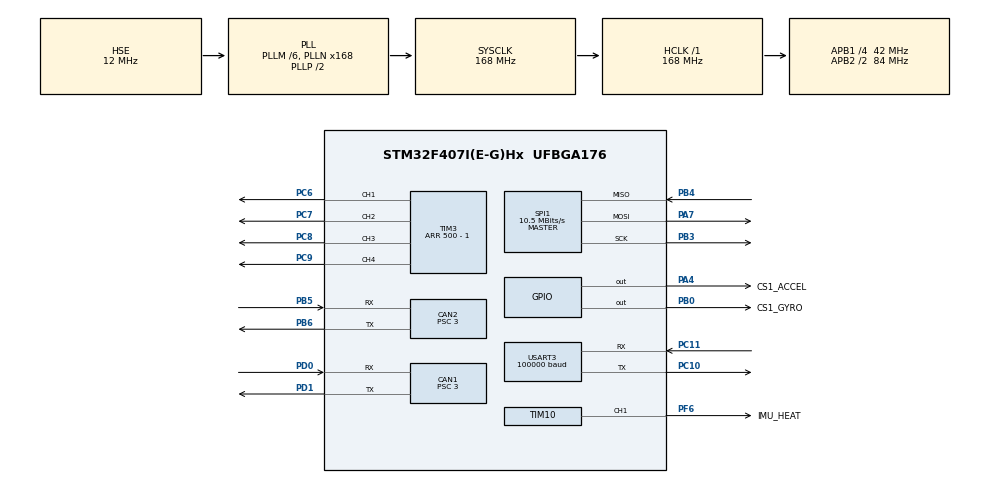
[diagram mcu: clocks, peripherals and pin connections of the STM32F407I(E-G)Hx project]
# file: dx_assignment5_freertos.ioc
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CAN1.ABOM=ENABLE
CAN1.AWUM=ENABLE
CAN1.BS1=CAN_BS1_7TQ
CAN1.BS2=CAN_BS2_6TQ
CAN1.CalculateBaudRate=1000000
CAN1.CalculateTimeBit=1000
CAN1.CalculateTimeQuantum=71.42857142857143
CAN1.Mode=CAN_MODE_NORMAL
CAN1.NART=ENABLE
CAN1.Prescaler=3
CAN1.TXFP=ENABLE
CAN2.BS1=CAN_BS1_7TQ
CAN2.BS2=CAN_BS2_6TQ
CAN2.CalculateBaudRate=1000000
CAN2.CalculateTimeBit=1000
CAN2.CalculateTimeQuantum=71.42857142857143
CAN2.Prescaler=3
Dma.Request0=USART3_RX
Dma.USART3_RX.0.Direction=DMA_PERIPH_TO_MEMORY
Dma.USART3_RX.0.FIFOMode=DMA_FIFOMODE_DISABLE
Dma.USART3_RX.0.Instance=DMA1_Stream1
Dma.USART3_RX.0.MemDataAlignment=DMA_MDATAALIGN_BYTE
Dma.USART3_RX.0.MemInc=DMA_MINC_ENABLE
Dma.USART3_RX.0.Mode=DMA_CIRCULAR
Dma.USART3_RX.0.PeriphDataAlignment=DMA_PDATAALIGN_BYTE
Dma.USART3_RX.0.PeriphInc=DMA_PINC_DISABLE
Dma.USART3_RX.0.Priority=DMA_PRIORITY_LOW
FREERTOS.CountingSemaphores01=CAN1CountingSem,3,Dynamic,NULL;CAN2CountingSem,3,Dynamic,NULL
FREERTOS.Queues01=can1_send_fifo,16,can_device_transmit_member,0,Dynamic,NULL,NULL;can2_send_fifo,16,can_device_transmit_member,0,Dynamic,NULL,NULL
FREERTOS.Tasks01=CAN1_Sending_Service,40,256,can1_sending_service,As weak,NULL,Dynamic,NULL,NULL;CAN2_Sending_Service,40,256,can2_sending_service,As weak,NULL,Dynamic,NULL,NULL;DJI_Motor_Service,40,256,DJI_motor_service,As weak,NULL,Dynamic,NULL,NULL;aterFull_Light_Task,8,128,waterfull_light,As weak,NULL,Dynamic,NULL,NULL;Motor_Control_Task,8,128,motor_control,As weak,NULL,Dynamic,NULL,NULL;INS_Service,8,128,ins_service,As weak,NULL,Dynamic,NULL,NULL;Power_Meter,8,128,power_meter,As weak,NULL,Dynamic,NULL,NULL;Dbus_Servicce,8,128,dbus_servicce,As weak,NULL,Dynamic,NULL,NULL
FREERTOS.configMAX_TASK_NAME_LEN=32
FREERTOS.configMINIMAL_STACK_SIZE=128
FREERTOS.configTOTAL_HEAP_SIZE=50000
FREERTOS.configUSE_NEWLIB_REENTRANT=1
Mcu.Family=STM32F4
Mcu.Name=STM32F407I(E-G)Hx
Mcu.Package=UFBGA176
NVIC.CAN1_RX0_IRQn=true\:5\:0\:false\:false\:true\:true\:true\:true\:true
NVIC.CAN1_TX_IRQn=true\:5\:0\:false\:false\:true\:true\:true\:true\:true
NVIC.CAN2_RX1_IRQn=true\:5\:0\:false\:false\:true\:true\:true\:true\:true
NVIC.CAN2_TX_IRQn=true\:5\:0\:false\:false\:true\:true\:true\:true\:true
NVIC.DMA1_Stream1_IRQn=true\:5\:0\:false\:false\:true\:true\:false\:true\:true
NVIC.PriorityGroup=NVIC_PRIORITYGROUP_4
NVIC.TIM7_IRQn=true\:15\:0\:false\:false\:true\:false\:false\:true\:true
NVIC.TimeBase=TIM7_IRQn
NVIC.TimeBaseIP=TIM7
NVIC.USART3_IRQn=true\:5\:0\:false\:false\:true\:true\:true\:true\:true
PA13.Mode=Serial_Wire
PA13.Signal=SYS_JTMS-SWDIO
PA14.Mode=Serial_Wire
PA14.Signal=SYS_JTCK-SWCLK
PA4.GPIO_Label=CS1_ACCEL
PA4.GPIO_PuPd=GPIO_PULLUP
PA4.GPIO_Speed=GPIO_SPEED_FREQ_HIGH
PA4.PinState=GPIO_PIN_SET
PA4.Signal=GPIO_Output
PA7.Mode=Full_Duplex_Master
PA7.Signal=SPI1_MOSI
PB0.GPIO_Label=CS1_GYRO
PB0.GPIO_PuPd=GPIO_PULLUP
PB0.GPIO_Speed=GPIO_SPEED_FREQ_HIGH
PB0.PinState=GPIO_PIN_SET
PB0.Signal=GPIO_Output
PB3.Mode=Full_Duplex_Master
PB3.Signal=SPI1_SCK
PB4.Mode=Full_Duplex_Master
PB4.Signal=SPI1_MISO
PB5.Mode=CAN_Activate
PB5.Signal=CAN2_RX
PB6.Mode=CAN_Activate
PB6.Signal=CAN2_TX
PC10.Mode=Asynchronous
PC10.Signal=USART3_TX
PC11.Mode=Asynchronous
PC11.Signal=USART3_RX
PC6.Signal=S_TIM3_CH1
PC7.Signal=S_TIM3_CH2
PC8.Signal=S_TIM3_CH3
PC9.Signal=S_TIM3_CH4
PD0.Mode=CAN_Activate
PD0.Signal=CAN1_RX
PD1.Mode=CAN_Activate
PD1.Signal=CAN1_TX
PF6.GPIO_Label=IMU_HEAT
PF6.GPIO_PuPd=GPIO_PULLUP
PF6.GPIO_Speed=GPIO_SPEED_FREQ_HIGH
PF6.Signal=S_TIM10_CH1
PH0-OSC_IN.Mode=HSE-External-Oscillator
PH0-OSC_IN.Signal=RCC_OSC_IN
PH1-OSC_OUT.Mode=HSE-External-Oscillator
PH1-OSC_OUT.Signal=RCC_OSC_OUT
ProjectManager.HeapSize=0x200
ProjectManager.StackSize=0x400
ProjectManager.TargetToolchain=CMake
RCC.48MHZClocksFreq_Value=84000000
RCC.AHBFreq_Value=168000000
RCC.APB1CLKDivider=RCC_HCLK_DIV4
RCC.APB1Freq_Value=42000000
RCC.APB1TimFreq_Value=84000000
RCC.APB2CLKDivider=RCC_HCLK_DIV2
RCC.APB2Freq_Value=84000000
RCC.APB2TimFreq_Value=168000000
RCC.CortexFreq_Value=168000000
RCC.HCLKFreq_Value=168000000
RCC.HSE_VALUE=12000000
RCC.HSI_VALUE=16000000
RCC.LSE_VALUE=32768
RCC.PLLM=6
RCC.PLLN=168
RCC.PLLSourceVirtual=RCC_PLLSOURCE_HSE
RCC.SYSCLKFreq_VALUE=168000000
RCC.SYSCLKSource=RCC_SYSCLKSOURCE_PLLCLK
RCC.VCOOutputFreq_Value=336000000
SH.S_TIM10_CH1.0=TIM10_CH1,PWM Generation1 CH1
SH.S_TIM3_CH1.0=TIM3_CH1,PWM Generation1 CH1
SH.S_TIM3_CH2.0=TIM3_CH2,PWM Generation2 CH2
SH.S_TIM3_CH3.0=TIM3_CH3,PWM Generation3 CH3
SH.S_TIM3_CH4.0=TIM3_CH4,PWM Generation4 CH4
SPI1.BaudRatePrescaler=SPI_BAUDRATEPRESCALER_8
SPI1.CLKPhase=SPI_PHASE_2EDGE
SPI1.CLKPolarity=SPI_POLARITY_HIGH
SPI1.CalculateBaudRate=10.5 MBits/s
SPI1.Direction=SPI_DIRECTION_2LINES
SPI1.Mode=SPI_MODE_MASTER
SPI1.VirtualType=VM_MASTER
TIM10.Channel=TIM_CHANNEL_1
TIM10.Period=2000 - 1
TIM10.Prescaler=84 - 1
TIM3.Channel-PWM\ Generation1\ CH1=TIM_CHANNEL_1
TIM3.Channel-PWM\ Generation2\ CH2=TIM_CHANNEL_2
TIM3.Channel-PWM\ Generation3\ CH3=TIM_CHANNEL_3
TIM3.Channel-PWM\ Generation4\ CH4=TIM_CHANNEL_4
TIM3.Period=500 - 1
USART3.BaudRate=100000
USART3.Parity=PARITY_EVEN
USART3.VirtualMode=VM_ASYNC
USART3.WordLength=WORDLENGTH_9B
VP_FREERTOS_VS_CMSIS_V2.Mode=CMSIS_V2
VP_SYS_VS_tim7.Mode=TIM7
VP_TIM10_VS_ClockSourceINT.Mode=Enable_Timer
VP_TIM3_VS_ClockSourceINT.Mode=Internal
board=custom

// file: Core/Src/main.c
/* USER CODE BEGIN Header */
/**
  ******************************************************************************
  * @file           : main.c
  * @brief          : Main program body
  ******************************************************************************
  * @attention
  *
  * Copyright (c) 2026 STMicroelectronics.
  * All rights reserved.
  *
  * This software is licensed under terms that can be found in the LICENSE file
  * in the root directory of this software component.
  * If no LICENSE file comes with this software, it is provided AS-IS.
  *
  ******************************************************************************
  */
/* USER CODE END Header */
#include "main.h"
#include "cmsis_os.h"
#include "can.h"
#include "dma.h"
#include "spi.h"
#include "tim.h"
#include "usart.h"
#include "gpio.h"

/* USER CODE BEGIN Includes */
#include "bsp_dwt.h"
#include "BMI088driver.h"
/* USER CODE END Includes */

void SystemClock_Config(void);
void MX_FREERTOS_Init(void);

/* USER CODE BEGIN 0 */
void bsp_can_init() {
    HAL_CAN_Start(&hcan1);
    HAL_CAN_ActivateNotification(&hcan1,  CAN_IT_RX_FIFO0_MSG_PENDING | CAN_IT_TX_MAILBOX_EMPTY);
    HAL_CAN_Start(&hcan2);
    HAL_CAN_ActivateNotification(&hcan2,  CAN_IT_RX_FIFO1_MSG_PENDING | CAN_IT_TX_MAILBOX_EMPTY);
}
/* USER CODE END 0 */

int main(void)
{

  /* USER CODE BEGIN 1 */
  __HAL_RCC_SYSCLK_CONFIG(RCC_SYSCLKSOURCE_HSI);
  /* USER CODE END 1 */

  /* MCU Configuration--------------------------------------------------------*/

  /* Reset of all peripherals, Initializes the Flash interface and the Systick. */
  HAL_Init();

  /* Configure the system clock */
  SystemClock_Config();

  /* Initialize all configured peripherals */
  MX_GPIO_Init();
  MX_DMA_Init();
  MX_CAN1_Init();
  MX_CAN2_Init();
  MX_TIM3_Init();
  MX_SPI1_Init();
  MX_USART3_UART_Init();
  MX_TIM10_Init();
  /* USER CODE BEGIN 2 */
    bsp_can_init();
    DWT_Init(168);
    BMI088_Init(&hspi1, 1);
  /* USER CODE END 2 */

  /* Init scheduler */
  osKernelInitialize();  /* Call init function for freertos objects (in cmsis_os2.c) */
  MX_FREERTOS_Init();

  /* Start scheduler */
  osKernelStart();

  /* We should never get here as control is now taken by the scheduler */

  /* Infinite loop */
  while (1)
  {

  }
}

void SystemClock_Config(void)
{
  RCC_OscInitTypeDef RCC_OscInitStruct = {0};
  RCC_ClkInitTypeDef RCC_ClkInitStruct = {0};

  /** Configure the main internal regulator output voltage
  */
  __HAL_RCC_PWR_CLK_ENABLE();
  __HAL_PWR_VOLTAGESCALING_CONFIG(PWR_REGULATOR_VOLTAGE_SCALE1);

  /** Initializes the RCC Oscillators according to the specified parameters
  * in the RCC_OscInitTypeDef structure.
  */
  RCC_OscInitStruct.OscillatorType = RCC_OSCILLATORTYPE_HSE;
  RCC_OscInitStruct.HSEState = RCC_HSE_ON;
  RCC_OscInitStruct.PLL.PLLState = RCC_PLL_ON;
  RCC_OscInitStruct.PLL.PLLSource = RCC_PLLSOURCE_HSE;
  RCC_OscInitStruct.PLL.PLLM = 6;
  RCC_OscInitStruct.PLL.PLLN = 168;
  RCC_OscInitStruct.PLL.PLLP = RCC_PLLP_DIV2;
  RCC_OscInitStruct.PLL.PLLQ = 4;
  if (HAL_RCC_OscConfig(&RCC_OscInitStruct) != HAL_OK)
  {
    Error_Handler();
  }

  /** Initializes the CPU, AHB and APB buses clocks
  */
  RCC_ClkInitStruct.ClockType = RCC_CLOCKTYPE_HCLK|RCC_CLOCKTYPE_SYSCLK
                              |RCC_CLOCKTYPE_PCLK1|RCC_CLOCKTYPE_PCLK2;
  RCC_ClkInitStruct.SYSCLKSource = RCC_SYSCLKSOURCE_PLLCLK;
  RCC_ClkInitStruct.AHBCLKDivider = RCC_SYSCLK_DIV1;
  RCC_ClkInitStruct.APB1CLKDivider = RCC_HCLK_DIV4;
  RCC_ClkInitStruct.APB2CLKDivider = RCC_HCLK_DIV2;

  if (HAL_RCC_ClockConfig(&RCC_ClkInitStruct, FLASH_LATENCY_5) != HAL_OK)
  {
    Error_Handler();
  }
}

void HAL_TIM_PeriodElapsedCallback(TIM_HandleTypeDef *htim)
{
  if (htim->Instance == TIM7)
  {
    HAL_IncTick();
  }
}

void Error_Handler(void)
{
  __disable_irq();
  while (1)
  {
  }
}

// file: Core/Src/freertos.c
/* USER CODE BEGIN Header */
/**
  ******************************************************************************
  * File Name          : freertos.c
  * Description        : Code for freertos applications
  ******************************************************************************
  * @attention
  *
  * Copyright (c) 2026 STMicroelectronics.
  * All rights reserved.
  *
  * This software is licensed under terms that can be found in the LICENSE file
  * in the root directory of this software component.
  * If no LICENSE file comes with this software, it is provided AS-IS.
  *
  ******************************************************************************
  */
/* USER CODE END Header */

#include "FreeRTOS.h"
#include "task.h"
#include "main.h"
#include "cmsis_os.h"

/* USER CODE BEGIN PTD */
typedef struct {
    CAN_HandleTypeDef *hcan;
    uint32_t id;
    uint8_t len;
    uint8_t *buf_data;
}can_device_transmit_member;
/* USER CODE END PTD */

/* Definitions for CAN1_Sending_Service */
osThreadId_t CAN1_Sending_ServiceHandle;
const osThreadAttr_t CAN1_Sending_Service_attributes = {
  .name = "CAN1_Sending_Service",
  .stack_size = 256 * 4,
  .priority = (osPriority_t) osPriorityHigh,
};
/* Definitions for CAN2_Sending_Service */
osThreadId_t CAN2_Sending_ServiceHandle;
const osThreadAttr_t CAN2_Sending_Service_attributes = {
  .name = "CAN2_Sending_Service",
  .stack_size = 256 * 4,
  .priority = (osPriority_t) osPriorityHigh,
};
/* Definitions for DJI_Motor_Service */
osThreadId_t DJI_Motor_ServiceHandle;
const osThreadAttr_t DJI_Motor_Service_attributes = {
  .name = "DJI_Motor_Service",
  .stack_size = 256 * 4,
  .priority = (osPriority_t) osPriorityHigh,
};
/* Definitions for aterFull_Light_Task */
osThreadId_t aterFull_Light_TaskHandle;
const osThreadAttr_t aterFull_Light_Task_attributes = {
  .name = "aterFull_Light_Task",
  .stack_size = 128 * 4,
  .priority = (osPriority_t) osPriorityLow,
};
/* Definitions for Motor_Control_Task */
osThreadId_t Motor_Control_TaskHandle;
const osThreadAttr_t Motor_Control_Task_attributes = {
  .name = "Motor_Control_Task",
  .stack_size = 128 * 4,
  .priority = (osPriority_t) osPriorityLow,
};
/* Definitions for INS_Service */
osThreadId_t INS_ServiceHandle;
const osThreadAttr_t INS_Service_attributes = {
  .name = "INS_Service",
  .stack_size = 128 * 4,
  .priority = (osPriority_t) osPriorityLow,
};
/* Definitions for Power_Meter */
osThreadId_t Power_MeterHandle;
const osThreadAttr_t Power_Meter_attributes = {
  .name = "Power_Meter",
  .stack_size = 128 * 4,
  .priority = (osPriority_t) osPriorityLow,
};
/* Definitions for Dbus_Servicce */
osThreadId_t Dbus_ServicceHandle;
const osThreadAttr_t Dbus_Servicce_attributes = {
  .name = "Dbus_Servicce",
  .stack_size = 128 * 4,
  .priority = (osPriority_t) osPriorityLow,
};
/* Definitions for can1_send_fifo */
osMessageQueueId_t can1_send_fifoHandle;
const osMessageQueueAttr_t can1_send_fifo_attributes = {
  .name = "can1_send_fifo"
};
/* Definitions for can2_send_fifo */
osMessageQueueId_t can2_send_fifoHandle;
const osMessageQueueAttr_t can2_send_fifo_attributes = {
  .name = "can2_send_fifo"
};
/* Definitions for CAN1CountingSem */
osSemaphoreId_t CAN1CountingSemHandle;
const osSemaphoreAttr_t CAN1CountingSem_attributes = {
  .name = "CAN1CountingSem"
};
/* Definitions for CAN2CountingSem */
osSemaphoreId_t CAN2CountingSemHandle;
const osSemaphoreAttr_t CAN2CountingSem_attributes = {
  .name = "CAN2CountingSem"
};

void can1_sending_service(void *argument);
void can2_sending_service(void *argument);
void DJI_motor_service(void *argument);
void waterfull_light(void *argument);
void motor_control(void *argument);
void ins_service(void *argument);
void power_meter(void *argument);
void dbus_servicce(void *argument);

void MX_FREERTOS_Init(void); /* (MISRA C 2004 rule 8.1) */

void MX_FREERTOS_Init(void) {

  /* Create the semaphores(s) */
  /* creation of CAN1CountingSem */
  CAN1CountingSemHandle = osSemaphoreNew(3, 3, &CAN1CountingSem_attributes);

  /* creation of CAN2CountingSem */
  CAN2CountingSemHandle = osSemaphoreNew(3, 3, &CAN2CountingSem_attributes);

  /* Create the queue(s) */
  /* creation of can1_send_fifo */
  can1_send_fifoHandle = osMessageQueueNew (16, sizeof(can_device_transmit_member), &can1_send_fifo_attributes);

  /* creation of can2_send_fifo */
  can2_send_fifoHandle = osMessageQueueNew (16, sizeof(can_device_transmit_member), &can2_send_fifo_attributes);

  /* Create the thread(s) */
  /* creation of CAN1_Sending_Service */
  CAN1_Sending_ServiceHandle = osThreadNew(can1_sending_service, NULL, &CAN1_Sending_Service_attributes);

  /* creation of CAN2_Sending_Service */
  CAN2_Sending_ServiceHandle = osThreadNew(can2_sending_service, NULL, &CAN2_Sending_Service_attributes);

  /* creation of DJI_Motor_Service */
  DJI_Motor_ServiceHandle = osThreadNew(DJI_motor_service, NULL, &DJI_Motor_Service_attributes);

  /* creation of aterFull_Light_Task */
  aterFull_Light_TaskHandle = osThreadNew(waterfull_light, NULL, &aterFull_Light_Task_attributes);

  /* creation of Motor_Control_Task */
  Motor_Control_TaskHandle = osThreadNew(motor_control, NULL, &Motor_Control_Task_attributes);

  /* creation of INS_Service */
  INS_ServiceHandle = osThreadNew(ins_service, NULL, &INS_Service_attributes);

  /* creation of Power_Meter */
  Power_MeterHandle = osThreadNew(power_meter, NULL, &Power_Meter_attributes);

  /* creation of Dbus_Servicce */
  Dbus_ServicceHandle = osThreadNew(dbus_servicce, NULL, &Dbus_Servicce_attributes);

}

__weak void can1_sending_service(void *argument)
{
  for(;;)
  {
    osDelay(1);
  }
}

__weak void can2_sending_service(void *argument)
{
  for(;;)
  {
    osDelay(1);
  }
}

__weak void DJI_motor_service(void *argument)
{
  for(;;)
  {
    osDelay(1);
  }
}

__weak void waterfull_light(void *argument)
{
  for(;;)
  {
    osDelay(1);
  }
}

__weak void motor_control(void *argument)
{
  for(;;)
  {
    osDelay(1);
  }
}

__weak void ins_service(void *argument)
{
  for(;;)
  {
    osDelay(1);
  }
}

__weak void power_meter(void *argument)
{
  for(;;)
  {
    osDelay(1);
  }
}

__weak void dbus_servicce(void *argument)
{
  for(;;)
  {
    osDelay(1);
  }
}
